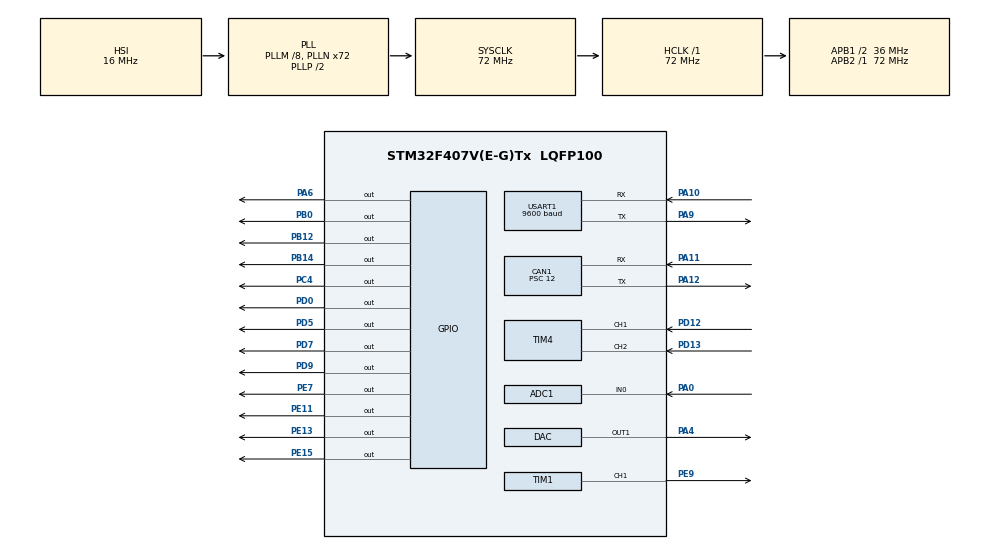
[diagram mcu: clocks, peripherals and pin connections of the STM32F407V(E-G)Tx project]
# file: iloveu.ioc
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ADC1.Channel-0\#ChannelRegularConversion=ADC_CHANNEL_0
ADC1.NbrOfConversionFlag=1
ADC1.Rank-0\#ChannelRegularConversion=1
ADC1.SamplingTime-0\#ChannelRegularConversion=ADC_SAMPLETIME_3CYCLES
ADC1.master=1
CAN1.BS1=CAN_BS1_3TQ
CAN1.BS2=CAN_BS2_2TQ
CAN1.CalculateBaudRate=499999
CAN1.CalculateTimeBit=2000
CAN1.CalculateTimeQuantum=333.33333333333337
CAN1.Prescaler=12
CAN1.TTCM=ENABLE
DAC.DAC_OutputBuffer=DAC_OUTPUTBUFFER_DISABLE
DAC.DAC_Trigger=DAC_TRIGGER_T6_TRGO
Dma.DAC1.0.Direction=DMA_MEMORY_TO_PERIPH
Dma.DAC1.0.FIFOMode=DMA_FIFOMODE_DISABLE
Dma.DAC1.0.Instance=DMA1_Stream5
Dma.DAC1.0.MemDataAlignment=DMA_MDATAALIGN_HALFWORD
Dma.DAC1.0.MemInc=DMA_MINC_ENABLE
Dma.DAC1.0.Mode=DMA_CIRCULAR
Dma.DAC1.0.PeriphDataAlignment=DMA_PDATAALIGN_HALFWORD
Dma.DAC1.0.PeriphInc=DMA_PINC_DISABLE
Dma.DAC1.0.Priority=DMA_PRIORITY_LOW
Dma.Request0=DAC1
FREERTOS.Tasks01=adc,24,256,adcFunc,Default,NULL,Dynamic,NULL,NULL;dac,24,128,dacFunc,Default,NULL,Dynamic,NULL,NULL;mpu,16,256,mpuTask,Default,NULL,Dynamic,NULL,NULL;pid,16,256,pidFunc,Default,NULL,Dynamic,NULL,NULL;can,8,128,canFunc,Default,NULL,Dynamic,NULL,NULL
Mcu.Family=STM32F4
Mcu.Name=STM32F407V(E-G)Tx
Mcu.Package=LQFP100
NVIC.CAN1_RX0_IRQn=true\:5\:0\:false\:false\:true\:true\:true\:true\:true
NVIC.DMA1_Stream5_IRQn=true\:5\:0\:false\:false\:true\:true\:false\:true\:true
NVIC.PriorityGroup=NVIC_PRIORITYGROUP_4
NVIC.TIM2_IRQn=true\:5\:0\:false\:false\:true\:true\:true\:true\:true
NVIC.USART1_IRQn=true\:5\:0\:false\:false\:true\:true\:false\:true\:true
PA0-WKUP.Signal=ADCx_IN0
PA10.Mode=Asynchronous
PA10.Signal=USART1_RX
PA11.Mode=CAN_Activate
PA11.Signal=CAN1_RX
PA12.Mode=CAN_Activate
PA12.Signal=CAN1_TX
PA13.Mode=Serial_Wire
PA13.Signal=SYS_JTMS-SWDIO
PA14.Mode=Serial_Wire
PA14.Signal=SYS_JTCK-SWCLK
PA4.Signal=COMP_DAC1_group
PA6.Signal=GPIO_Output
PA9.Mode=Asynchronous
PA9.Signal=USART1_TX
PB0.Signal=GPIO_Output
PB12.Signal=GPIO_Output
PB14.Signal=GPIO_Output
PC14-OSC32_IN.Mode=LSE-External-Oscillator
PC14-OSC32_IN.Signal=RCC_OSC32_IN
PC15-OSC32_OUT.Mode=LSE-External-Oscillator
PC15-OSC32_OUT.Signal=RCC_OSC32_OUT
PC4.Signal=GPIO_Output
PD0.Signal=GPIO_Output
PD12.Signal=S_TIM4_CH1
PD13.Signal=S_TIM4_CH2
PD5.PinState=GPIO_PIN_SET
PD5.Signal=GPIO_Output
PD7.Signal=GPIO_Output
PD9.Signal=GPIO_Output
PE11.Signal=GPIO_Output
PE13.Signal=GPIO_Output
PE15.Signal=GPIO_Output
PE7.PinState=GPIO_PIN_SET
PE7.Signal=GPIO_Output
PE9.Signal=S_TIM1_CH1
PH0-OSC_IN.Mode=HSE-External-Oscillator
PH0-OSC_IN.Signal=RCC_OSC_IN
PH1-OSC_OUT.Mode=HSE-External-Oscillator
PH1-OSC_OUT.Signal=RCC_OSC_OUT
ProjectManager.HeapSize=0x200
ProjectManager.StackSize=0x400
ProjectManager.TargetToolchain=CMake
RCC.48MHZClocksFreq_Value=36000000
RCC.AHBFreq_Value=72000000
RCC.APB1CLKDivider=RCC_HCLK_DIV2
RCC.APB1Freq_Value=36000000
RCC.APB1TimFreq_Value=72000000
RCC.APB2Freq_Value=72000000
RCC.APB2TimFreq_Value=72000000
RCC.CortexFreq_Value=72000000
RCC.HCLKFreq_Value=72000000
RCC.HSE_VALUE=25000000
RCC.HSI_VALUE=16000000
RCC.PLLM=8
RCC.PLLN=72
RCC.SYSCLKFreq_VALUE=72000000
RCC.SYSCLKSource=RCC_SYSCLKSOURCE_PLLCLK
RCC.VCOOutputFreq_Value=144000000
SH.ADCx_IN0.0=ADC1_IN0,IN0
SH.COMP_DAC1_group.0=DAC_OUT1,DAC_OUT1
SH.S_TIM1_CH1.0=TIM1_CH1,PWM Generation1 CH1
SH.S_TIM4_CH1.0=TIM4_CH1,Encoder_Interface
SH.S_TIM4_CH2.0=TIM4_CH2,Encoder_Interface
TIM1.Channel-PWM\ Generation1\ CH1=TIM_CHANNEL_1
TIM1.Period=255
TIM2.AutoReloadPreload=TIM_AUTORELOAD_PRELOAD_ENABLE
TIM2.Period=250-1
TIM2.Prescaler=72-1
TIM4.EncoderMode=TIM_ENCODERMODE_TI12
TIM6.Period=250-1
TIM6.Prescaler=72-1
TIM6.TIM_MasterOutputTrigger=TIM_TRGO_UPDATE
USART1.BaudRate=9600
USART1.VirtualMode=VM_ASYNC
VP_FREERTOS_VS_CMSIS_V2.Mode=CMSIS_V2
VP_TIM14_VS_ClockSourceINT.Mode=Enable_Timer
VP_TIM2_VS_ClockSourceINT.Mode=Internal
VP_TIM6_VS_ClockSourceINT.Mode=Enable_Timer
board=custom

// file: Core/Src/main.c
/* USER CODE BEGIN Header */
/**
  ******************************************************************************
  * @file           : main.c
  * @brief          : Main program body
  ******************************************************************************
  * @attention
  *
  * Copyright (c) 2025 STMicroelectronics.
  * All rights reserved.
  *
  * This software is licensed under terms that can be found in the LICENSE file
  * in the root directory of this software component.
  * If no LICENSE file comes with this software, it is provided AS-IS.
  *
  ******************************************************************************
  */
/* USER CODE END Header */
#include "main.h"
#include "cmsis_os.h"
#include "adc.h"
#include "can.h"
#include "dac.h"
#include "dma.h"
#include "tim.h"
#include "usart.h"
#include "gpio.h"

void SystemClock_Config(void);
void MX_FREERTOS_Init(void);

int main(void)
{

  /* MCU Configuration--------------------------------------------------------*/

  /* Reset of all peripherals, Initializes the Flash interface and the Systick. */
  HAL_Init();

  /* Configure the system clock */
  SystemClock_Config();

  /* Initialize all configured peripherals */
  MX_GPIO_Init();
  MX_DMA_Init();
  MX_DAC_Init();
  MX_TIM6_Init();
  MX_ADC1_Init();
  MX_CAN1_Init();
  MX_USART1_UART_Init();
  MX_TIM4_Init();
  MX_TIM14_Init();
  MX_TIM1_Init();
  MX_TIM2_Init();

  /* Init scheduler */
  osKernelInitialize();  /* Call init function for freertos objects (in cmsis_os2.c) */
  MX_FREERTOS_Init();

  /* Start scheduler */
  osKernelStart();

  /* We should never get here as control is now taken by the scheduler */

  /* Infinite loop */
  while (1)
  {

  }
}

void SystemClock_Config(void)
{
  RCC_OscInitTypeDef RCC_OscInitStruct = {0};
  RCC_ClkInitTypeDef RCC_ClkInitStruct = {0};

  /** Configure the main internal regulator output voltage
  */
  __HAL_RCC_PWR_CLK_ENABLE();
  __HAL_PWR_VOLTAGESCALING_CONFIG(PWR_REGULATOR_VOLTAGE_SCALE1);

  /** Initializes the RCC Oscillators according to the specified parameters
  * in the RCC_OscInitTypeDef structure.
  */
  RCC_OscInitStruct.OscillatorType = RCC_OSCILLATORTYPE_HSI;
  RCC_OscInitStruct.HSIState = RCC_HSI_ON;
  RCC_OscInitStruct.HSICalibrationValue = RCC_HSICALIBRATION_DEFAULT;
  RCC_OscInitStruct.PLL.PLLState = RCC_PLL_ON;
  RCC_OscInitStruct.PLL.PLLSource = RCC_PLLSOURCE_HSI;
  RCC_OscInitStruct.PLL.PLLM = 8;
  RCC_OscInitStruct.PLL.PLLN = 72;
  RCC_OscInitStruct.PLL.PLLP = RCC_PLLP_DIV2;
  RCC_OscInitStruct.PLL.PLLQ = 4;
  if (HAL_RCC_OscConfig(&RCC_OscInitStruct) != HAL_OK)
  {
    Error_Handler();
  }

  /** Initializes the CPU, AHB and APB buses clocks
  */
  RCC_ClkInitStruct.ClockType = RCC_CLOCKTYPE_HCLK|RCC_CLOCKTYPE_SYSCLK
                              |RCC_CLOCKTYPE_PCLK1|RCC_CLOCKTYPE_PCLK2;
  RCC_ClkInitStruct.SYSCLKSource = RCC_SYSCLKSOURCE_PLLCLK;
  RCC_ClkInitStruct.AHBCLKDivider = RCC_SYSCLK_DIV1;
  RCC_ClkInitStruct.APB1CLKDivider = RCC_HCLK_DIV2;
  RCC_ClkInitStruct.APB2CLKDivider = RCC_HCLK_DIV1;

  if (HAL_RCC_ClockConfig(&RCC_ClkInitStruct, FLASH_LATENCY_2) != HAL_OK)
  {
    Error_Handler();
  }
}

void Error_Handler(void)
{
  __disable_irq();
  while (1)
  {
  }
}

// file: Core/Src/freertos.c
/* USER CODE BEGIN Header */
/**
  ******************************************************************************
  * File Name          : freertos.c
  * Description        : Code for freertos applications
  ******************************************************************************
  * @attention
  *
  * Copyright (c) 2025 STMicroelectronics.
  * All rights reserved.
  *
  * This software is licensed under terms that can be found in the LICENSE file
  * in the root directory of this software component.
  * If no LICENSE file comes with this software, it is provided AS-IS.
  *
  ******************************************************************************
  */
/* USER CODE END Header */

#include "FreeRTOS.h"
#include "task.h"
#include "main.h"
#include "cmsis_os.h"

/* USER CODE BEGIN Includes */
#include "mpu6050.h"
#include "font.h"
#include "oled.h"
#include "adc.h"
#include "dac.h"
#include "dac_audio_data.h"
#include "tim.h"
#include <stdint.h>
#include <stdio.h>
#include "pid.h"
/* USER CODE END Includes */

/* Definitions for adc */
osThreadId_t adcHandle;
const osThreadAttr_t adc_attributes = {
  .name = "adc",
  .stack_size = 256 * 4,
  .priority = (osPriority_t) osPriorityNormal,
};
/* Definitions for dac */
osThreadId_t dacHandle;
const osThreadAttr_t dac_attributes = {
  .name = "dac",
  .stack_size = 128 * 4,
  .priority = (osPriority_t) osPriorityNormal,
};
/* Definitions for mpu */
osThreadId_t mpuHandle;
const osThreadAttr_t mpu_attributes = {
  .name = "mpu",
  .stack_size = 256 * 4,
  .priority = (osPriority_t) osPriorityBelowNormal,
};
/* Definitions for pid */
osThreadId_t pidHandle;
const osThreadAttr_t pid_attributes = {
  .name = "pid",
  .stack_size = 256 * 4,
  .priority = (osPriority_t) osPriorityBelowNormal,
};
/* Definitions for can */
osThreadId_t canHandle;
const osThreadAttr_t can_attributes = {
  .name = "can",
  .stack_size = 128 * 4,
  .priority = (osPriority_t) osPriorityLow,
};

void adcFunc(void *argument);
void dacFunc(void *argument);
void mpuTask(void *argument);
void pidFunc(void *argument);
void canFunc(void *argument);

void MX_FREERTOS_Init(void); /* (MISRA C 2004 rule 8.1) */

void MX_FREERTOS_Init(void) {

  /* Create the thread(s) */
  /* creation of adc */
  adcHandle = osThreadNew(adcFunc, NULL, &adc_attributes);

  /* creation of dac */
  dacHandle = osThreadNew(dacFunc, NULL, &dac_attributes);

  /* creation of mpu */
  mpuHandle = osThreadNew(mpuTask, NULL, &mpu_attributes);

  /* creation of pid */
  pidHandle = osThreadNew(pidFunc, NULL, &pid_attributes);

  /* creation of can */
  canHandle = osThreadNew(canFunc, NULL, &can_attributes);

}

void adcFunc(void *argument)
{
  /* USER CODE BEGIN adcFunc */
  /* Infinite loop */
  for(;;)
  {
    // HAL_ADC_Start(&hadc1); // 开始读取ADC
    // HAL_ADC_PollForConversion(&hadc1, HAL_MAX_DELAY); // 等待ADC读取完毕
    // int value = HAL_ADC_GetValue(&hadc1); // 获取ADC值
    // float voltage = (value / 4095.0f) * 3.3f; // 转换为实际电压
    // printf("vol: %f\n", voltage);
    osDelay(20000);
  }
  /* USER CODE END adcFunc */
}

void dacFunc(void *argument)
{
  /* USER CODE BEGIN dacFunc */
  /* Infinite loop */
  HAL_TIM_PWM_Start(&htim1, TIM_CHANNEL_1);
  HAL_TIM_Base_Start_IT(&htim2);

  HAL_TIM_Base_Start(&htim6);
  HAL_DAC_Start_DMA(&hdac, DAC_CHANNEL_1, (uint32_t*)dac_audio_data_data, DAC_AUDIO_DATA_NUM_SAMPLES, DAC_ALIGN_12B_R); // dma搬运数据

  for(;;)
  {
    osDelay(1);
  }
  /* USER CODE END dacFunc */
}

void mpuTask(void *argument)
{
  /* USER CODE BEGIN mpuTask */
  /* Infinite loop */
  osDelay(20);
  // OLED_Init();
  // MPU_Init();
  for(;;)
  {
    // MPU_Update_Angle();
    // char stringbuf[32];
    // OLED_NewFrame();

    // sprintf(stringbuf, "yaw   : %.2f", mpu6050_yaw);
    // OLED_PrintASCIIString(0, 0, stringbuf, &afont12x6, OLED_COLOR_NORMAL);

    // sprintf(stringbuf, "pitch : %.2f", mpu6050_pitch);
    // OLED_PrintASCIIString(0, 12, stringbuf, &afont12x6, OLED_COLOR_NORMAL);

    // sprintf(stringbuf, "roll  : %.2f", mpu6050_roll);
    // OLED_PrintASCIIString(0, 12 * 2, stringbuf, &afont12x6, OLED_COLOR_NORMAL);

    // OLED_ShowFrame();
    osDelay(10);
  }
  /* USER CODE END mpuTask */
}

/* USER CODE BEGIN Header_pidFunc */
/**
* @brief Function implementing the pid thread.
* @param argument: Not used
* @retval None
*/
typedef enum {
    ANGLE_MOTOR,
    SPEED_MOTOR
  } MotorMode;
MotorMode motorMode = SPEED_MOTOR;
PID speedpid;
PID angelpid;
uint32_t lastEncoder;
uint32_t targetSpeed;
uint32_t targetAngleEncoder;
/* USER CODE END Header_pidFunc */
void pidFunc(void *argument)
{
  /* USER CODE BEGIN pidFunc */
  /* Infinite loop */
  // HAL_TIM_Encoder_Start(&htim4, TIM_CHANNEL_ALL);
  // HAL_TIM_PWM_Start(&htim3, TIM_CHANNEL_1);
  // HAL_GPIO_WritePin(GPIOC, GPIO_PIN_4, GPIO_PIN_SET);

  // PID_InitSpeed(&speedpid);
  // PID_InitAngle(&angelpid);

  // lastEncoder = __HAL_TIM_GET_COUNTER(&htim4);
  // targetSpeed = 5;
  // OLED_Init();
  for(;;)
  {
    // switch (motorMode) {
    //   case ANGLE_MOTOR:{
    //     uint32_t currEncoder = __HAL_TIM_GET_COUNTER(&htim4);
    //     int pwmOut = PID_Output(&angelpid, currEncoder, targetAngleEncoder, 0.01);
    //     __HAL_TIM_SET_COMPARE(&htim3, TIM_CHANNEL_1, pwmOut);
    //     break;
    //   }
    //   case SPEED_MOTOR: {
    //     uint32_t currEncoder = __HAL_TIM_GET_COUNTER(&htim4);
    //     __HAL_TIM_SET_COUNTER(&htim4, 0);
    //     int pwmOut = PID_Output(&speedpid, currEncoder - lastEncoder, targetSpeed, 0.01);
    //     lastEncoder = currEncoder;
    //     __HAL_TIM_SET_COMPARE(&htim3, TIM_CHANNEL_1, pwmOut);
    //     break;
    //   }
    //   default:
    //     printf("err\n");
    //     break;
    // }

    // OLED_NewFrame();

    // char stringbuf[32];
    // sprintf(stringbuf, "s:%d", currEncoder);
    // OLED_PrintASCIIString(0, 0, stringbuf, &afont12x6, OLED_COLOR_NORMAL);

    // sprintf(stringbuf, "p:%d", pwmOut);
    // OLED_PrintASCIIString(0, 12, stringbuf, &afont12x6, OLED_COLOR_NORMAL);

    // OLED_ShowFrame();

    osDelay(10);
  }
  /* USER CODE END pidFunc */
}

void canFunc(void *argument)
{
  for(;;)
  {
    osDelay(1);
  }
}
